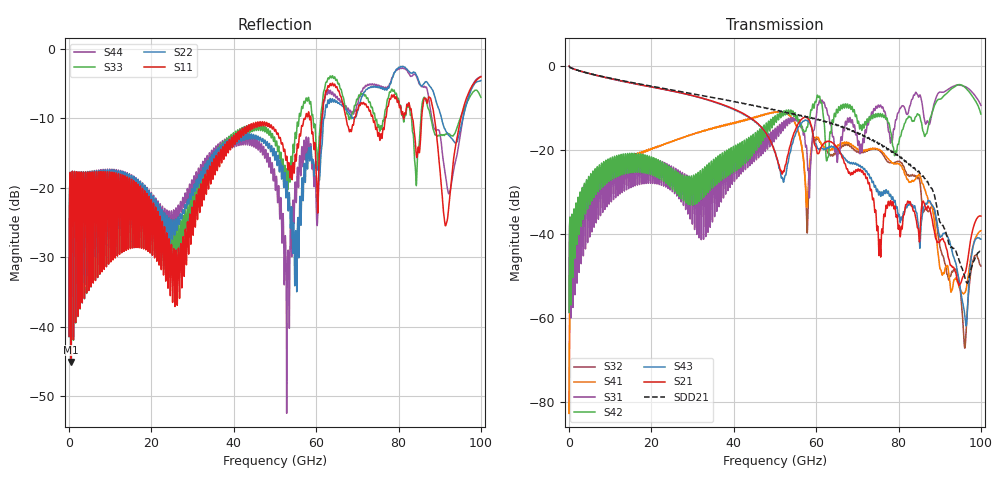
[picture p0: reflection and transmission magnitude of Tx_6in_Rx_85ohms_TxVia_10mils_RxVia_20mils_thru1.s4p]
! Info: Touchstone file created by Circ.  Input file=Tx_6in_Rx_85ohms_TxVia_10mils_RxVia_20mils.circ
# Hz S RI R 50
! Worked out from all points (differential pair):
!   10000 points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, 10 MHz to 100 GHz, reference 50 ohm
!   strongest paths, dB at 10 MHz, 25.01 GHz, 50.01 GHz, 75.01 GHz, 100 GHz:
!     S21: -0.1, -6.0, -20.5, -38.6, -35.7
!     S43: -0.1, -6.0, -20.5, -29.9, -41.2
!     S42: -58.6, -27.5, -12.0, -11.3, -11.5
!     S31: -58.6, -27.9, -15.0, -9.4, -9.4
!     S41: -82.7, -18.0, -11.1, -19.8, -39.2
!     S32: -82.7, -18.0, -11.0, -20.0, -47.6
!   taken as a pair (ports 1,3 in; 2,4 out), SDD21 dB: -0.1, -5.7, -10.5, -18.4, -44.5
!   lowest |S11| = -45.1 dB at 530 MHz (marker M1), VSWR 1.01, Z = 49.5 - j0.109 ohm
!   |S11| at or under -10 dB: start of sweep to 57.39 GHz; 73.78 GHz to 76.75 GHz (2.964 GHz wide, 3.94 % of centre); 88.74 GHz to 95.15 GHz (6.402 GHz wide, 6.96 % of centre) (the widest 3 of 8)
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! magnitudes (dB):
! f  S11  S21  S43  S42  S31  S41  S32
! 10 MHz  -41.4  -0.1  -0.1  -58.6  -58.6  -82.7  -82.7
! 530 MHz  -45.1  -0.4  -0.4  -42.9  -43.0  -47.3  -47.3
! 50.68 GHz  -12.1  -22.9  -22.5  -11.8  -14.8  -11.0  -11.0
! 57.8 GHz  -9.6  -12.3  -12.9  -14.6  -21.5  -32.9  -39.6
! 84.67 GHz  -14.6  -38.6  -36.9  -11.4  -6.9  -26.3  -26.8
! 96.25 GHz  -7.6  -49.1  -60.9  -5.2  -4.9  -53.7  -66.0
! 100 GHz  -4.0  -35.7  -41.2  -11.5  -9.4  -39.2  -47.6
